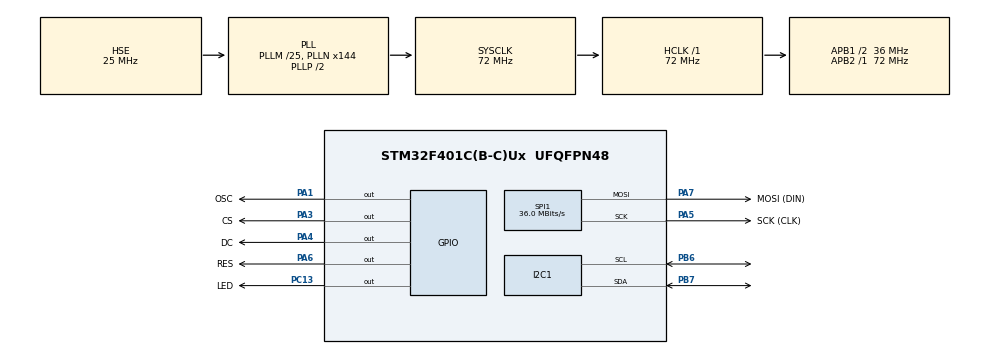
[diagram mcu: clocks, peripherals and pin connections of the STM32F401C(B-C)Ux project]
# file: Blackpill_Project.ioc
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I2C1.DutyCycle=I2C_DUTYCYCLE_2
I2C1.I2C_Mode=I2C_Fast
Mcu.Family=STM32F4
Mcu.Name=STM32F401C(B-C)Ux
Mcu.Package=UFQFPN48
NVIC.PriorityGroup=NVIC_PRIORITYGROUP_4
NVIC.TIM1_BRK_TIM9_IRQn=true\:0\:0\:false\:false\:true\:true\:true
NVIC.TIM1_CC_IRQn=true\:0\:0\:false\:false\:true\:true\:true
NVIC.TIM1_TRG_COM_TIM11_IRQn=true\:0\:0\:false\:false\:true\:true\:true
NVIC.TIM1_UP_TIM10_IRQn=true\:0\:0\:false\:false\:true\:true\:true
NVIC.TIM2_IRQn=true\:0\:0\:false\:false\:true\:true\:true
PA1.GPIO_Label=OSC
PA1.Signal=GPIO_Output
PA13.Mode=Serial_Wire
PA13.Signal=SYS_JTMS-SWDIO
PA14.Mode=Serial_Wire
PA14.Signal=SYS_JTCK-SWCLK
PA3.GPIO_Label=CS
PA3.Signal=GPIO_Output
PA4.GPIO_Label=DC
PA4.Signal=GPIO_Output
PA5.GPIO_Label=SCK (CLK)
PA5.Mode=TX_Only_Simplex_Unidirect_Master
PA5.Signal=SPI1_SCK
PA6.GPIO_Label=RES
PA6.Signal=GPIO_Output
PA7.GPIO_Label=MOSI (DIN)
PA7.Mode=TX_Only_Simplex_Unidirect_Master
PA7.Signal=SPI1_MOSI
PB6.Mode=I2C
PB6.Signal=I2C1_SCL
PB7.Mode=I2C
PB7.Signal=I2C1_SDA
PC13-ANTI_TAMP.GPIO_Label=LED
PC13-ANTI_TAMP.Signal=GPIO_Output
PH0\ -\ OSC_IN.Mode=HSE-External-Oscillator
PH0\ -\ OSC_IN.Signal=RCC_OSC_IN
PH1\ -\ OSC_OUT.Mode=HSE-External-Oscillator
PH1\ -\ OSC_OUT.Signal=RCC_OSC_OUT
ProjectManager.HeapSize=0x200
ProjectManager.StackSize=0x400
ProjectManager.TargetToolchain=STM32CubeIDE
RCC.48MHZClocksFreq_Value=36000000
RCC.AHBFreq_Value=72000000
RCC.APB1CLKDivider=RCC_HCLK_DIV2
RCC.APB1Freq_Value=36000000
RCC.APB1TimFreq_Value=72000000
RCC.APB2Freq_Value=72000000
RCC.APB2TimFreq_Value=72000000
RCC.CortexFreq_Value=72000000
RCC.HCLKFreq_Value=72000000
RCC.HSE_VALUE=25000000
RCC.HSI_VALUE=16000000
RCC.LSE_VALUE=32768
RCC.PLLM=25
RCC.PLLN=144
RCC.PLLSourceVirtual=RCC_PLLSOURCE_HSE
RCC.SYSCLKFreq_VALUE=72000000
RCC.SYSCLKSource=RCC_SYSCLKSOURCE_PLLCLK
RCC.VCOOutputFreq_Value=144000000
SPI1.BaudRatePrescaler=SPI_BAUDRATEPRESCALER_2
SPI1.CLKPhase=SPI_PHASE_2EDGE
SPI1.CLKPolarity=SPI_POLARITY_HIGH
SPI1.CalculateBaudRate=36.0 MBits/s
SPI1.DataSize=SPI_DATASIZE_8BIT
SPI1.Direction=SPI_DIRECTION_2LINES
SPI1.Mode=SPI_MODE_MASTER
SPI1.VirtualType=VM_MASTER
TIM1.Period=999
TIM1.Prescaler=719
TIM2.Period=1999
TIM2.Prescaler=719
VP_TIM1_VS_ClockSourceINT.Mode=Internal
VP_TIM2_VS_ClockSourceINT.Mode=Internal
board=custom

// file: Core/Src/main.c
/* USER CODE BEGIN Header */
/**
  ******************************************************************************
  * @file           : main.c
  * @brief          : Main program body
  ******************************************************************************
  * @attention
  *
  * <h2><center>&copy; Copyright (c) 2022 STMicroelectronics.
  * All rights reserved.</center></h2>
  *
  * This software component is licensed by ST under BSD 3-Clause license,
  * the "License"; You may not use this file except in compliance with the
  * License. You may obtain a copy of the License at:
  *                        opensource.org/licenses/BSD-3-Clause
  *
  ******************************************************************************
  */
/* USER CODE END Header */
#include "main.h"
#include "i2c.h"
#include "spi.h"
#include "tim.h"
#include "gpio.h"

/* USER CODE BEGIN Includes */
#include "SSD1331.h"
#include <stdio.h>
#include <string.h>
#include <stdlib.h>
#include <stdint.h>
#define _USE_MATH_DEFINES
#include <math.h>
#include "lsm303d.h"
#include "bitmap.h"
/* USER CODE END Includes */

/* USER CODE BEGIN PD */
#define LSM303D_ADDR			0x3a
/* USER CODE END PD */

/* USER CODE BEGIN PV */
float alpha;
float gradient;
int x2;
int y2;
char data[11];
int i = 0;
/* USER CODE END PV */

void SystemClock_Config(void);

/* USER CODE BEGIN 0 */
void HAL_TIM_PeriodElapsedCallback(TIM_HandleTypeDef *htim)
{
if(htim->Instance == TIM1)
{
		x2 = 96 * lsm_read_value(LSM303D_OUT_Z_A) / 32768;
		y2 = 64 * lsm_read_value(LSM303D_OUT_X_A) / 32768;
		alpha = atan2f(x2, y2);
		gradient =  alpha * 180.0f / M_PI - 90.0f;

		if (x2 <= -47) {
			x2 = -47;
		}
		else if (x2 < 47 && x2 > -47) {
			x2 = x2;
		}
		else if (x2 >= 47) {
			x2 = 47;
		}
		if (y2 >= 31) {
			y2 = 31;
		}
		else if (y2 < 31 && y2 > -31) {
			y2 = y2;
		}
		else if (y2 <= -31) {
			y2 = -31;
		}
}

	  if(htim->Instance == TIM2)
	  {
			if (i < 10) {
				ssd1331_draw_bitmap(0, 0, &logo, 96, 64, GREY);
			}
			else if (i == 10) {
				ssd1331_clear_screen(BLACK);
			}
			else  if (i > 10){
				ssd1331_draw_line(96 / 2 + x2, (64 / 2 - y2)*1, 96 / 2 - x2, (64 / 2 + y2)*1, RED);
				ssd1331_draw_line(96 / 2 + x2, (64 / 2 - y2)*1, 96 / 2 - x2, (64 / 2 + y2)*1, BLACK);

				sprintf(data, "Kat:%.2f", gradient);
				ssd1331_display_string(0, 0, data, FONT_1608, GREEN);
				ssd1331_display_string(0, 0, data, FONT_1608, BLACK);
			}
			i = i+1;
	  }
}
/* USER CODE END 0 */

int main(void)
{

  /* MCU Configuration--------------------------------------------------------*/

  /* Reset of all peripherals, Initializes the Flash interface and the Systick. */
  HAL_Init();

  /* Configure the system clock */
  SystemClock_Config();

  /* Initialize all configured peripherals */
  MX_GPIO_Init();
  MX_TIM1_Init();
  MX_I2C1_Init();
  MX_SPI1_Init();
  MX_TIM2_Init();
  /* USER CODE BEGIN 2 */
  ssd1331_init();
  HAL_TIM_Base_Start_IT(&htim1);
  HAL_TIM_Base_Start_IT(&htim2);

  lsm_write_reg(LSM303D_CTRL1, 0x40|0x07); // AODR2 (25Hz) | AXEN | AYEN | AZEN
  HAL_Delay(1000);
  /* USER CODE END 2 */

  /* Infinite loop */
  while (1)
  {

  }
}

void SystemClock_Config(void)
{
  RCC_OscInitTypeDef RCC_OscInitStruct = {0};
  RCC_ClkInitTypeDef RCC_ClkInitStruct = {0};

  /** Configure the main internal regulator output voltage
  */
  __HAL_RCC_PWR_CLK_ENABLE();
  __HAL_PWR_VOLTAGESCALING_CONFIG(PWR_REGULATOR_VOLTAGE_SCALE2);
  /** Initializes the RCC Oscillators according to the specified parameters
  * in the RCC_OscInitTypeDef structure.
  */
  RCC_OscInitStruct.OscillatorType = RCC_OSCILLATORTYPE_HSE;
  RCC_OscInitStruct.HSEState = RCC_HSE_ON;
  RCC_OscInitStruct.PLL.PLLState = RCC_PLL_ON;
  RCC_OscInitStruct.PLL.PLLSource = RCC_PLLSOURCE_HSE;
  RCC_OscInitStruct.PLL.PLLM = 25;
  RCC_OscInitStruct.PLL.PLLN = 144;
  RCC_OscInitStruct.PLL.PLLP = RCC_PLLP_DIV2;
  RCC_OscInitStruct.PLL.PLLQ = 4;
  if (HAL_RCC_OscConfig(&RCC_OscInitStruct) != HAL_OK)
  {
    Error_Handler();
  }
  /** Initializes the CPU, AHB and APB buses clocks
  */
  RCC_ClkInitStruct.ClockType = RCC_CLOCKTYPE_HCLK|RCC_CLOCKTYPE_SYSCLK
                              |RCC_CLOCKTYPE_PCLK1|RCC_CLOCKTYPE_PCLK2;
  RCC_ClkInitStruct.SYSCLKSource = RCC_SYSCLKSOURCE_PLLCLK;
  RCC_ClkInitStruct.AHBCLKDivider = RCC_SYSCLK_DIV1;
  RCC_ClkInitStruct.APB1CLKDivider = RCC_HCLK_DIV2;
  RCC_ClkInitStruct.APB2CLKDivider = RCC_HCLK_DIV1;

  if (HAL_RCC_ClockConfig(&RCC_ClkInitStruct, FLASH_LATENCY_2) != HAL_OK)
  {
    Error_Handler();
  }
}

void Error_Handler(void)
{
  __disable_irq();
  while (1)
  {
  }
}

/************************ (C) COPYRIGHT STMicroelectronics *****END OF FILE****/
